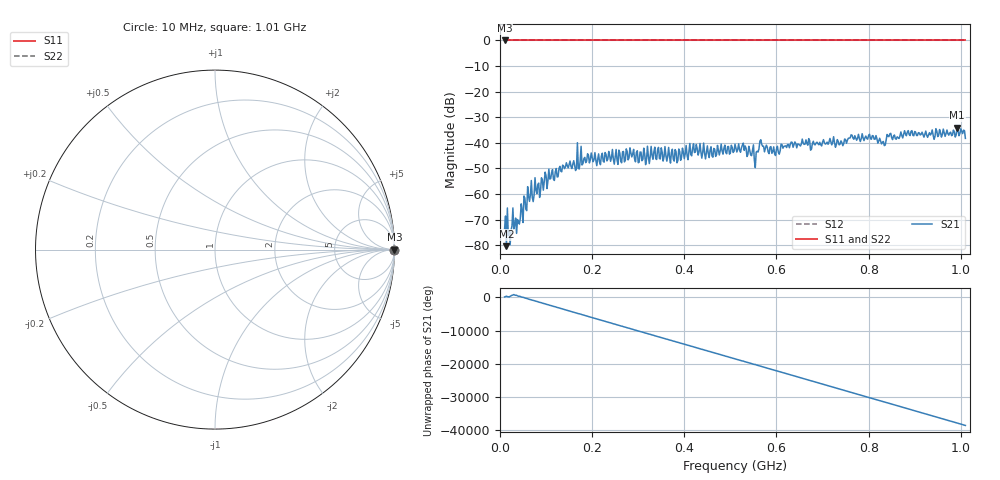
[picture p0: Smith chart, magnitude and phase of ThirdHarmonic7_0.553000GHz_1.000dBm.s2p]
! 8/17/2025 4:48:13 PM
! C:\ANRITSUVNA\TEMP\TEMP.S2P
! CHANNEL.1
! TR.MEASUREMENT
! RAW.DATA
! RF.CORRECTION.OFF
! AVERAGING.OFF
! IF.BANDWIDTH: 5KHZ
! SWEEPTYPE:  FREQ.SWEEP(Linear)
! Reference Plane Port Info
! PORT:  PORT1  PORT2
! DISTANCE:  0  m  0  m
! TIME:  0  s  0  s
! PHASE.OFFSET:  0  deg.  0  deg.
! LOSS:  0  dB  0  dB
! REF.LOSS:  0  dB  0  dB
! REF.FREQ:  0  Hz  0  Hz
! Power Info
! POWER:  -20  dBm  -20  dBm
! EFF.POWER:  -20  dBm  -20  dBm
! SOURCE.ATTEN:  0  dB  0  dB
! TEST.ATTEN:  0  dB  0  dB
# GHZ S RI R 50.0
! FREQ.GHZ  S11RE  S11IM  S21RE  S21IM  S12RE  S12IM  S22RE  S22IM
!; PortSelection: Port_12
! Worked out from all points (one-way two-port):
!   501 points, 10 MHz to 1.01 GHz, reference 50 ohm
!   highest |S21| = -34.03 dB at 992 MHz (marker M1); lowest = -80.4 dB at 14 MHz (marker M2)
!   lowest |S11| = 0.0 dB at 10 MHz (marker M3)
!   |S11| at or under -10 dB: nowhere
!   |S22| runs from 0.0 to 0.0 dB; largest |S21 - S12| = 1
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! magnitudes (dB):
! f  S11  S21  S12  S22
! 10 MHz  0.0  -73.5  0.0  0.0
! 14 MHz  0.0  -80.4  0.0  0.0
! 22 MHz  0.0  -79.8  0.0  0.0
! 30 MHz  0.0  -73.8  0.0  0.0
! 40 MHz  0.0  -70.7  0.0  0.0
! 64 MHz  0.0  -62.9  0.0  0.0
! 84 MHz  0.0  -55.7  0.0  0.0
! 110 MHz  0.0  -54.0  0.0  0.0
! 178 MHz  0.0  -48.6  0.0  0.0
! 344 MHz  0.0  -41.8  0.0  0.0
! 510 MHz  0.0  -40.6  0.0  0.0
! 530 MHz  0.0  -42.9  0.0  0.0
! 556 MHz  0.0  -43.6  0.0  0.0
! 568 MHz  0.0  -40.5  0.0  0.0
! 594 MHz  0.0  -41.6  0.0  0.0
! 636 MHz  0.0  -41.7  0.0  0.0
! 678 MHz  0.0  -40.2  0.0  0.0
! 766 MHz  0.0  -38.1  0.0  0.0
! 832 MHz  0.0  -39.5  0.0  0.0
! 844 MHz  0.0  -37.6  0.0  0.0
! 992 MHz  0.0  -34.0  0.0  0.0
! 1.01 GHz  0.0  -38.3  0.0  0.0
